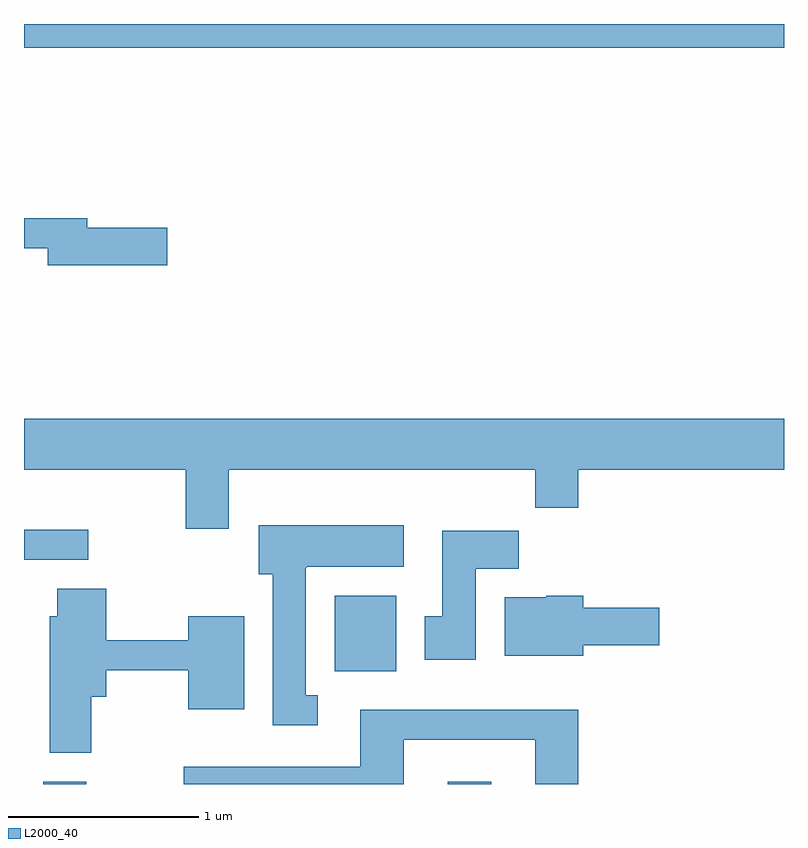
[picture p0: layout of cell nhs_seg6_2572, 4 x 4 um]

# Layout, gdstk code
import gdstk
lib = gdstk.Library(unit=1e-6, precision=1e-09)
def R(c, l, rs):  # rectangles x0, y0, x1, y1
    for r in rs: c.add(gdstk.rectangle(r[:2], r[2:], *l))
def P(c, l, *ps):  # polygons
    for p in ps: c.add(gdstk.Polygon(p, *l))
L2000_40 = (2000, 40)

nhs_seg6_2572 = lib.new_cell('nhs_seg6_2572')
R(nhs_seg6_2572, L2000_40, [(263.711,1546.162,263.939,1546.174), (265.841,1546.162,266.069,1546.174), (265.246,1546.756,265.569,1547.154), (263.611,1547.341,263.948,1547.499), (263.611,1550.036,267.611,1550.162)])
P(nhs_seg6_2572, L2000_40, [(264.364,1549.089),(263.944,1549.089),(263.944,1549.139),(263.611,1549.139),(263.611,1548.981),(263.736,1548.981),(263.736,1548.891),(264.364,1548.891)],
  [(264.689,1547.816),(266.301,1547.816),(266.301,1547.616),(266.529,1547.616),(266.529,1547.816),(267.611,1547.816),(267.611,1548.084),(263.611,1548.084),(263.611,1547.816),(264.461,1547.816),(264.461,1547.506),(264.689,1547.506)],
  [(265.158,1546.629),(265.094,1546.629),(265.094,1547.3),(265.1,1547.3),(265.1,1547.306),(265.609,1547.306),(265.609,1547.524),(264.846,1547.524),(264.846,1547.266),(264.921,1547.266),(264.921,1546.471),(265.158,1546.471)],
  [(265.989,1547.296),(266.214,1547.296),(266.214,1547.494),(265.811,1547.494),(265.811,1547.044),(265.721,1547.044),(265.721,1546.816),(265.989,1546.816)],
  [(263.964,1546.621),(264.044,1546.621),(264.044,1546.761),(264.476,1546.761),(264.476,1546.556),(264.769,1546.556),(264.769,1547.044),(264.476,1547.044),(264.476,1546.919),(264.044,1546.919),(264.044,1547.189),(263.786,1547.189),(263.786,1547.044),(263.746,1547.044),(263.746,1546.326),(263.964,1546.326)],
  [(266.554,1546.891),(266.954,1546.891),(266.954,1547.089),(266.554,1547.089),(266.554,1547.154),(266.36,1547.154),(266.36,1547.144),(266.141,1547.144),(266.141,1546.836),(266.554,1546.836)],
  [(265.609,1546.396),(266.301,1546.396),(266.301,1546.162),(266.529,1546.162),(266.529,1546.554),(265.381,1546.554),(265.381,1546.254),(264.453,1546.254),(264.453,1546.162),(265.609,1546.162)])

lib.write_gds('nhs_seg6_2572.gds')
